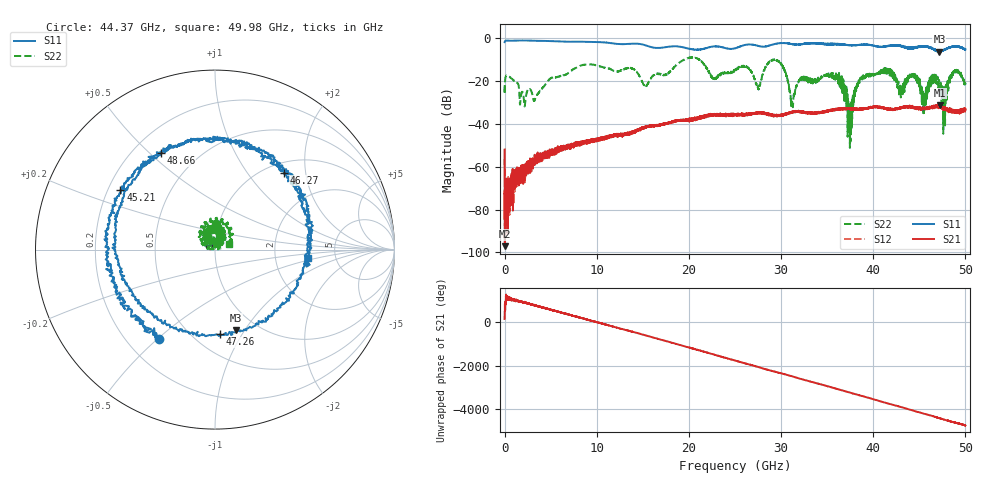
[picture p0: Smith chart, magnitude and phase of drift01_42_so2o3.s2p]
!Created with skrf (http://scikit-rf.org).
# Hz S RI R 50.0
!freq ReS11 ImS11 ReS21 ImS21 ReS12 ImS12 ReS22 ImS22
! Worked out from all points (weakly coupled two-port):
!   10001 points, 300 kHz to 50 GHz, reference 50 ohm
!   highest |S21| = -31.43 dB at 47.23 GHz (marker M1); lowest = -97.1 dB at 25.3 MHz (marker M2)
!   lowest |S11| = -6.6 dB at 47.18 GHz (marker M3), VSWR 2.74, Z = 39.9 - j45.8 ohm
!   |S11| at or under -10 dB: nowhere
!   |S22| runs from -51.3 to -9.2 dB; largest |S21 - S12| = 0.0043
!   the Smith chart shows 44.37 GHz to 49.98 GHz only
!   S11 on the Smith chart (normalised r, x): 44.37 GHz: 0.33, -0.50; 45.21 GHz: 0.25, +0.27; 46.27 GHz: 1.19, +1.53; 47.26 GHz: 0.66, -0.80; 48.66 GHz: 0.31, +0.54; 49.98 GHz: 3.09, -0.42
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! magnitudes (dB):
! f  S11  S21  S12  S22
! 300 kHz  -2.1  -52.1  -56.3  -22.3
! 25.3 MHz  -1.9  -97.1  -84.1  -23.1
! 265.3 MHz  -1.4  -72.5  -69.1  -17.7
! 3.29 GHz  -1.5  -59.2  -56.7  -28.9
! 8.335 GHz  -1.9  -48.5  -49.8  -12.9
! 16.67 GHz  -4.8  -40.6  -40.7  -16.6
! 25 GHz  -5.0  -35.9  -35.8  -15.4
! 31.23 GHz  -3.1  -34.7  -34.5  -30.7
! 33.34 GHz  -2.6  -35.0  -35.2  -19.7
! 36.08 GHz  -3.1  -33.4  -33.6  -18.0
! 37.47 GHz  -3.6  -33.1  -33.1  -34.2
! 38.66 GHz  -3.3  -33.3  -33.3  -20.2
! 41.67 GHz  -3.9  -33.2  -33.3  -15.4
! 44.37 GHz  -4.6  -32.6  -32.4  -17.1
! 45.21 GHz  -4.1  -32.9  -32.8  -23.0
! 46.27 GHz  -4.8  -32.7  -32.4  -18.2
! 47.18 GHz  -6.6  -32.0  -32.1  -21.8
! 47.23 GHz  -6.4  -31.4  -32.2  -26.1
! 47.26 GHz  -6.5  -32.7  -32.2  -24.1
! 48.66 GHz  -4.2  -34.8  -34.6  -16.9
! 49.98 GHz  -5.7  -33.2  -33.1  -21.6
! 50 GHz  -5.4  -33.4  -33.8  -21.9
